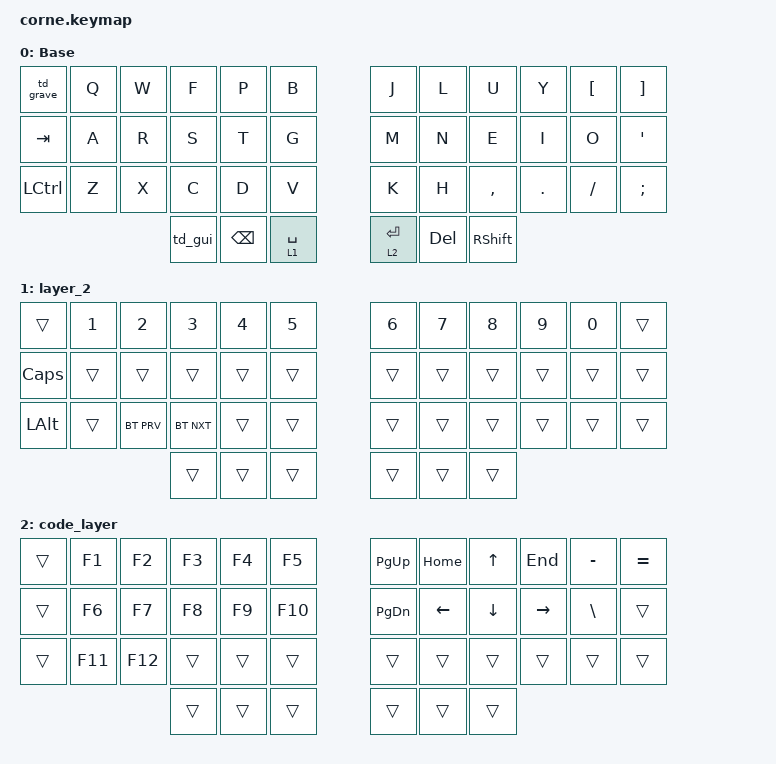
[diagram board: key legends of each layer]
/*
 * Copyright (c) 2020 The ZMK Contributors
 *
 * SPDX-License-Identifier: MIT
 */

#include <behaviors.dtsi>
#include <dt-bindings/zmk/bt.h>
#include <dt-bindings/zmk/keys.h>

/ {
    behaviors {
        td_grave: td_grave {
            compatible = "zmk,behavior-tap-dance";
            label = "TD_GRAVE";
            #binding-cells = <0>;
            bindings = <&kp GRAVE>, <&kp ESCAPE>;
        };

        td_gui: td_gui {
            compatible = "zmk,behavior-tap-dance";
            label = "TD_GUI";
            #binding-cells = <0>;
            bindings = <&kp LEFT_SHIFT>, <&kp LEFT_GUI>;
        };
    };

    combos {
        compatible = "zmk,combos";

        L_bootloader {
            bindings = <&bootloader>;
            key-positions = <0 38 36>;
        };

        R_bootloader {
            bindings = <&bootloader>;
            key-positions = <11 41 39>;
        };
    };

    keymap {
        compatible = "zmk,keymap";

        default_layer {
            // -----------------------------------------------------------------------------------------
            // |  TAB |  Q  |  W  |  E  |  R  |  T  |   |  Y  |  U   |  I  |  O  |  P  | BKSP |
            // | CTRL |  A  |  S  |  D  |  F  |  G  |   |  H  |  J   |  K  |  L  |  ;  |  '   |
            // | SHFT |  Z  |  X  |  C  |  V  |  B  |   |  N  |  M   |  ,  |  .  |  /  | ESC  |
            //                    | GUI | LWR | SPC |   | ENT | RSE  | ALT |

            display-name = "Base";
            bindings = <
&td_grave  &kp Q  &kp W  &kp F    &kp P          &kp B          &kp J        &kp L    &kp U            &kp Y    &kp LEFT_BRACKET  &kp RIGHT_BRACKET
&kp TAB    &kp A  &kp R  &kp S    &kp T          &kp G          &kp M        &kp N    &kp E            &kp I    &kp O             &kp SQT
&kp LCTRL  &kp Z  &kp X  &kp C    &kp D          &kp V          &kp K        &kp H    &kp COMMA        &kp DOT  &kp FSLH          &kp SEMICOLON
                         &td_gui  &kp BACKSPACE  &lt 1 SPACE    &lt 2 ENTER  &kp DEL  &kp RIGHT_SHIFT
            >;
        };

        layer_2 {
            bindings = <
&trans        &kp NUMBER_1  &kp NUMBER_2  &kp NUMBER_3  &kp NUMBER_4  &kp N5    &kp NUMBER_6  &kp N7  &kp N8  &kp N9  &kp N0  &trans
&kp CAPS      &trans        &trans        &trans        &trans        &trans    &trans        &trans  &trans  &trans  &trans  &trans
&kp LEFT_ALT  &trans        &bt BT_PRV    &bt BT_NXT    &trans        &trans    &trans        &trans  &trans  &trans  &trans  &trans
                                          &trans        &trans        &trans    &trans        &trans  &trans
            >;
        };

        code_layer {
            bindings = <
&trans  &kp F1   &kp F2   &kp F3  &kp F4  &kp F5     &kp PAGE_UP    &kp HOME        &kp UP_ARROW  &kp END    &kp MINUS      &kp EQUAL
&trans  &kp F6   &kp F7   &kp F8  &kp F9  &kp F10    &kp PAGE_DOWN  &kp LEFT_ARROW  &kp DOWN      &kp RIGHT  &kp BACKSLASH  &trans
&trans  &kp F11  &kp F12  &trans  &trans  &trans     &trans         &trans          &trans        &trans     &trans         &trans
                          &trans  &trans  &trans     &trans         &trans          &trans
            >;
        };
    };
};
